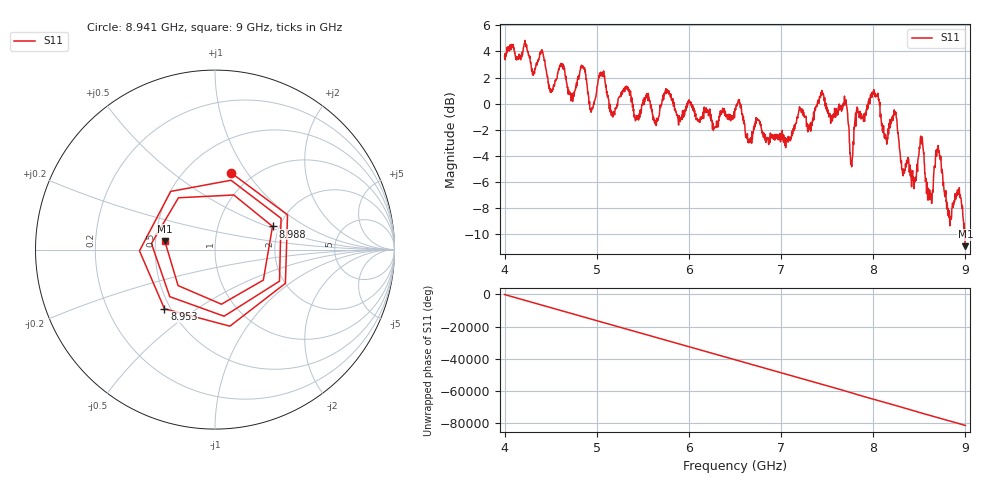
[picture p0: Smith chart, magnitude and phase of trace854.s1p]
! Created with skrf 1.8.0 (http://scikit-rf.org).
# Hz S RI R 50.0
!freq ReS11 ImS11
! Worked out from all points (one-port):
!   1601 points, 4 GHz to 9 GHz, reference 50 ohm
!   lowest |S11| = -10.9 dB at 9 GHz (marker M1), VSWR 1.79, Z = 28 + j2.97 ohm
!   |S11| at or under -10 dB: 8.991527 GHz to end of sweep
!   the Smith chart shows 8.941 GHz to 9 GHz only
!   S11 on the Smith chart (normalised r, x): 8.941 GHz: 0.80, +0.85; 8.953 GHz: 0.46, -0.38; 8.988 GHz: 1.84, +0.54; 9 GHz: 0.56, +0.06
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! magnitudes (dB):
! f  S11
! 4 GHz  3.6
! 4.406 GHz  4.1
! 4.503 GHz  0.9
! 4.625 GHz  3.1
! 4.728 GHz  0.3
! 4.85 GHz  2.9
! 4.941 GHz  -0.6
! 5.05 GHz  2.3
! 5.169 GHz  -1.0
! 5.25 GHz  0.5
! 5.875 GHz  -0.9
! 6.5 GHz  -0.4
! 6.656 GHz  -2.7
! 7.125 GHz  -2.3
! 7.441 GHz  0.8
! 7.697 GHz  0.2
! 7.75 GHz  -3.8
! 8.012 GHz  0.8
! 8.375 GHz  -4.1
! 8.441 GHz  -6.5
! 8.525 GHz  -3.1
! 8.616 GHz  -7.2
! 8.706 GHz  -3.4
! 8.822 GHz  -8.7
! 8.941 GHz  -7.2
! 8.953 GHz  -7.3
! 8.988 GHz  -9.2
! 9 GHz  -10.9
